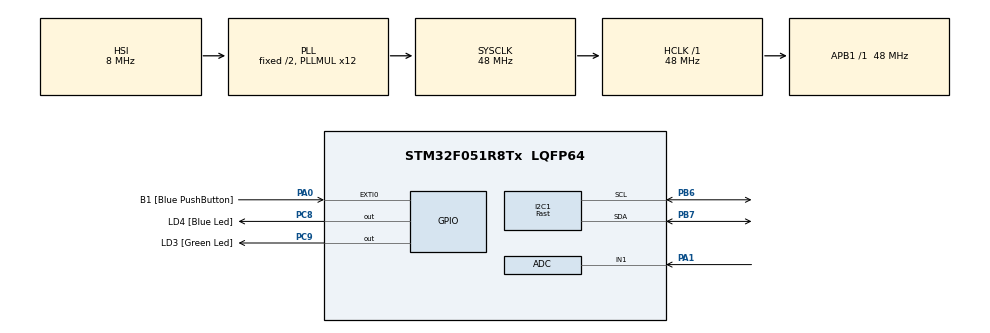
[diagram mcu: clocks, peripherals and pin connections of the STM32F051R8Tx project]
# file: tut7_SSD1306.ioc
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ADC.ClockPrescaler=ADC_CLOCK_ASYNC_DIV1
ADC.ContinuousConvMode=DISABLE
ADC.DMAContinuousRequests=DISABLE
ADC.DataAlign=ADC_DATAALIGN_RIGHT
ADC.DiscontinuousConvMode=DISABLE
ADC.EOCSelection=ADC_EOC_SINGLE_SEQ_CONV
ADC.EnableAnalogWatchDog=false
ADC.ExternalTrigConv=ADC_SOFTWARE_START
ADC.ExternalTrigConvEdge=ADC_EXTERNALTRIGCONVEDGE_NONE
ADC.LowPowerAutoPowerOff=DISABLE
ADC.LowPowerAutoWait=DISABLE
ADC.Overrun=ADC_OVR_DATA_PRESERVED
ADC.Resolution=ADC_RESOLUTION_12B
ADC.SamplingTime=ADC_SAMPLETIME_1CYCLE_5
ADC.ScanConvMode=ADC_SCAN_DIRECTION_FORWARD
I2C1.I2C_Speed_Mode=I2C_Fast
I2C1.Timing=0x0000020B
Mcu.Family=STM32F0
Mcu.Name=STM32F051R8Tx
Mcu.Package=LQFP64
PA0.GPIO_Label=B1 [Blue PushButton]
PA0.GPIO_ModeDefaultEXTI=GPIO_MODE_EVT_RISING
PA0.Signal=GPXTI0
PA1.Mode=IN1
PA1.Signal=ADC_IN1
PA13.GPIO_Label=SWDIO
PA13.Mode=Serial_Wire
PA13.Signal=SYS_SWDIO
PA14.GPIO_Label=SWCLK
PA14.Mode=Serial_Wire
PA14.Signal=SYS_SWCLK
PB6.Mode=I2C
PB6.Signal=I2C1_SCL
PB7.Mode=I2C
PB7.Signal=I2C1_SDA
PC8.GPIO_Label=LD4 [Blue Led]
PC8.Signal=GPIO_Output
PC9.GPIO_Label=LD3 [Green Led]
PC9.Signal=GPIO_Output
ProjectManager.HeapSize=0x200
ProjectManager.StackSize=0x400
ProjectManager.TargetToolchain=EWARM V8
RCC.AHBFreq_Value=48000000
RCC.APB1Freq_Value=48000000
RCC.APB1TimFreq_Value=48000000
RCC.HCLKFreq_Value=48000000
RCC.PLLMUL=RCC_PLL_MUL12
RCC.SYSCLKFreq_VALUE=48000000
RCC.SYSCLKSource=RCC_SYSCLKSOURCE_PLLCLK
board=STM32F0DISCOVERY

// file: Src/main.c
/**
  ******************************************************************************
  * File Name          : main.c
  * Description        : Main program body
  ******************************************************************************
  *
  * COPYRIGHT(c) 2019 STMicroelectronics
  *
  * Redistribution and use in source and binary forms, with or without modification,
  * are permitted provided that the following conditions are met:
  *   1. Redistributions of source code must retain the above copyright notice,
  *      this list of conditions and the following disclaimer.
  *   2. Redistributions in binary form must reproduce the above copyright notice,
  *      this list of conditions and the following disclaimer in the documentation
  *      and/or other materials provided with the distribution.
  *   3. Neither the name of STMicroelectronics nor the names of its contributors
  *      may be used to endorse or promote products derived from this software
  *      without specific prior written permission.
  *
  * THIS SOFTWARE IS PROVIDED BY THE COPYRIGHT HOLDERS AND CONTRIBUTORS "AS IS"
  * AND ANY EXPRESS OR IMPLIED WARRANTIES, INCLUDING, BUT NOT LIMITED TO, THE
  * IMPLIED WARRANTIES OF MERCHANTABILITY AND FITNESS FOR A PARTICULAR PURPOSE ARE
  * DISCLAIMED. IN NO EVENT SHALL THE COPYRIGHT HOLDER OR CONTRIBUTORS BE LIABLE
  * FOR ANY DIRECT, INDIRECT, INCIDENTAL, SPECIAL, EXEMPLARY, OR CONSEQUENTIAL
  * DAMAGES (INCLUDING, BUT NOT LIMITED TO, PROCUREMENT OF SUBSTITUTE GOODS OR
  * SERVICES; LOSS OF USE, DATA, OR PROFITS; OR BUSINESS INTERRUPTION) HOWEVER
  * CAUSED AND ON ANY THEORY OF LIABILITY, WHETHER IN CONTRACT, STRICT LIABILITY,
  * OR TORT (INCLUDING NEGLIGENCE OR OTHERWISE) ARISING IN ANY WAY OUT OF THE USE
  * OF THIS SOFTWARE, EVEN IF ADVISED OF THE POSSIBILITY OF SUCH DAMAGE.
  *
  ******************************************************************************
  */
#include "main.h"
#include "stm32f0xx_hal.h"

/* USER CODE BEGIN Includes */
#include "fonts.h"
#include "ssd1306.h"
#include "lis2ds12_reg.h"
#include <string.h>
/* USER CODE END Includes */

ADC_HandleTypeDef hadc;

I2C_HandleTypeDef hi2c1;

/* USER CODE BEGIN PV */
/* Private variables ---------------------------------------------------------*/
unsigned char buffer[5];

unsigned int rawT, rawH;
uint8_t rst_cnt;

float Temperature;
float Humidity;

//variables for LCD
char lcd_buf[25];
int i;

//static axis3bit16_t data_raw_acceleration;
//static axis1bit16_t data_raw_temperature;
static stepcountbit16_t data_step_count;
//static uint8_t magnitude_8bit;
//static float acceleration_mg[3];
//static float temperature_degC;
static uint8_t whoamI, rst;
//static uint8_t tx_buffer[1000];

/* USER CODE END PV */

void SystemClock_Config(void);
void Error_Handler(void);
static void MX_GPIO_Init(void);
static void MX_I2C1_Init(void);
static void MX_ADC_Init(void);
static int32_t platform_write(void *handle, uint8_t Reg, uint8_t *Bufp,
                              uint16_t len);
static int32_t platform_read(void *handle, uint8_t Reg, uint8_t *Bufp,
                              uint16_t len);
void lis2ds12_8bit_module(void);

/* USER CODE BEGIN PFP */
/* Private function prototypes -----------------------------------------------*/

/* USER CODE END PFP */

int main(void)
{

  /* MCU Configuration----------------------------------------------------------*/

  /* Reset of all peripherals, Initializes the Flash interface and the Systick. */
  HAL_Init();

  /* Configure the system clock */
  SystemClock_Config();

  /* Initialize all configured peripherals */
  MX_GPIO_Init();
  MX_I2C1_Init();
  MX_ADC_Init();

  /* USER CODE BEGIN 2 */
	//Init LCD
  ssd1306_Init();
  lis2ds12_8bit_module();                                                       /* This function has a while loop inside need some work around to make it work
                                                                                * along side the OLED
                                                                                */
  /* USER CODE END 2 */

  /* Infinite loop */
  while (1)
  {

  }

}

/** System Clock Configuration
*/
void SystemClock_Config(void)
{

  RCC_OscInitTypeDef RCC_OscInitStruct;
  RCC_ClkInitTypeDef RCC_ClkInitStruct;
  RCC_PeriphCLKInitTypeDef PeriphClkInit;

    /**Initializes the CPU, AHB and APB busses clocks
    */
  RCC_OscInitStruct.OscillatorType = RCC_OSCILLATORTYPE_HSI|RCC_OSCILLATORTYPE_HSI14;
  RCC_OscInitStruct.HSIState = RCC_HSI_ON;
  RCC_OscInitStruct.HSI14State = RCC_HSI14_ON;
  RCC_OscInitStruct.HSICalibrationValue = 16;
  RCC_OscInitStruct.HSI14CalibrationValue = 16;
  RCC_OscInitStruct.PLL.PLLState = RCC_PLL_ON;
  RCC_OscInitStruct.PLL.PLLSource = RCC_PLLSOURCE_HSI;
  RCC_OscInitStruct.PLL.PLLMUL = RCC_PLL_MUL12;
  RCC_OscInitStruct.PLL.PREDIV = RCC_PREDIV_DIV1;
  if (HAL_RCC_OscConfig(&RCC_OscInitStruct) != HAL_OK)
  {
    Error_Handler();
  }

    /**Initializes the CPU, AHB and APB busses clocks
    */
  RCC_ClkInitStruct.ClockType = RCC_CLOCKTYPE_HCLK|RCC_CLOCKTYPE_SYSCLK
                              |RCC_CLOCKTYPE_PCLK1;
  RCC_ClkInitStruct.SYSCLKSource = RCC_SYSCLKSOURCE_PLLCLK;
  RCC_ClkInitStruct.AHBCLKDivider = RCC_SYSCLK_DIV1;
  RCC_ClkInitStruct.APB1CLKDivider = RCC_HCLK_DIV1;

  if (HAL_RCC_ClockConfig(&RCC_ClkInitStruct, FLASH_LATENCY_1) != HAL_OK)
  {
    Error_Handler();
  }

  PeriphClkInit.PeriphClockSelection = RCC_PERIPHCLK_I2C1;
  PeriphClkInit.I2c1ClockSelection = RCC_I2C1CLKSOURCE_HSI;
  if (HAL_RCCEx_PeriphCLKConfig(&PeriphClkInit) != HAL_OK)
  {
    Error_Handler();
  }

    /**Configure the Systick interrupt time
    */
  HAL_SYSTICK_Config(HAL_RCC_GetHCLKFreq()/1000);

    /**Configure the Systick
    */
  HAL_SYSTICK_CLKSourceConfig(SYSTICK_CLKSOURCE_HCLK);

  /* SysTick_IRQn interrupt configuration */
  HAL_NVIC_SetPriority(SysTick_IRQn, 0, 0);
}

/* ADC init function */
static void MX_ADC_Init(void)
{

  ADC_ChannelConfTypeDef sConfig;

    /**Configure the global features of the ADC (Clock, Resolution, Data Alignment and number of conversion)
    */
  hadc.Instance = ADC1;
  hadc.Init.ClockPrescaler = ADC_CLOCK_ASYNC_DIV1;
  hadc.Init.Resolution = ADC_RESOLUTION_12B;
  hadc.Init.DataAlign = ADC_DATAALIGN_RIGHT;
  hadc.Init.ScanConvMode = ADC_SCAN_DIRECTION_FORWARD;
  hadc.Init.EOCSelection = ADC_EOC_SINGLE_SEQ_CONV;
  hadc.Init.LowPowerAutoWait = DISABLE;
  hadc.Init.LowPowerAutoPowerOff = DISABLE;
  hadc.Init.ContinuousConvMode = DISABLE;
  hadc.Init.DiscontinuousConvMode = DISABLE;
  hadc.Init.ExternalTrigConv = ADC_SOFTWARE_START;
  hadc.Init.ExternalTrigConvEdge = ADC_EXTERNALTRIGCONVEDGE_NONE;
  hadc.Init.DMAContinuousRequests = DISABLE;
  hadc.Init.Overrun = ADC_OVR_DATA_PRESERVED;
  if (HAL_ADC_Init(&hadc) != HAL_OK)
  {
    Error_Handler();
  }

    /**Configure for the selected ADC regular channel to be converted.
    */
  sConfig.Channel = ADC_CHANNEL_1;
  sConfig.Rank = ADC_RANK_CHANNEL_NUMBER;
  sConfig.SamplingTime = ADC_SAMPLETIME_1CYCLE_5;
  if (HAL_ADC_ConfigChannel(&hadc, &sConfig) != HAL_OK)
  {
    Error_Handler();
  }

}

/* I2C1 init function */
static void MX_I2C1_Init(void)
{

  hi2c1.Instance = I2C1;
  hi2c1.Init.Timing = 0x0000020B;
  hi2c1.Init.OwnAddress1 = 0;
  hi2c1.Init.AddressingMode = I2C_ADDRESSINGMODE_7BIT;
  hi2c1.Init.DualAddressMode = I2C_DUALADDRESS_DISABLE;
  hi2c1.Init.OwnAddress2 = 0;
  hi2c1.Init.OwnAddress2Masks = I2C_OA2_NOMASK;
  hi2c1.Init.GeneralCallMode = I2C_GENERALCALL_DISABLE;
  hi2c1.Init.NoStretchMode = I2C_NOSTRETCH_DISABLE;
  if (HAL_I2C_Init(&hi2c1) != HAL_OK)
  {
    Error_Handler();
  }

    /**Configure Analogue filter
    */
  if (HAL_I2CEx_ConfigAnalogFilter(&hi2c1, I2C_ANALOGFILTER_ENABLE) != HAL_OK)
  {
    Error_Handler();
  }

    /**Configure Digital filter
    */
  if (HAL_I2CEx_ConfigDigitalFilter(&hi2c1, 0) != HAL_OK)
  {
    Error_Handler();
  }

}

/** Configure pins as
        * Analog
        * Input
        * Output
        * EVENT_OUT
        * EXTI
        * Free pins are configured automatically as Analog (this feature is enabled through
        * the Code Generation settings)
*/
static void MX_GPIO_Init(void)
{

  GPIO_InitTypeDef GPIO_InitStruct;

  /* GPIO Ports Clock Enable */
  __HAL_RCC_GPIOC_CLK_ENABLE();
  __HAL_RCC_GPIOF_CLK_ENABLE();
  __HAL_RCC_GPIOA_CLK_ENABLE();
  __HAL_RCC_GPIOB_CLK_ENABLE();
  __HAL_RCC_GPIOD_CLK_ENABLE();

  /*Configure GPIO pin Output Level */
  HAL_GPIO_WritePin(GPIOC, LD4_Pin|LD3_Pin, GPIO_PIN_RESET);

  /*Configure GPIO pins : PC13 PC14 PC15 PC0
                           PC1 PC2 PC3 PC4
                           PC5 PC6 PC7 PC10
                           PC11 PC12 */
  GPIO_InitStruct.Pin = GPIO_PIN_13|GPIO_PIN_14|GPIO_PIN_15|GPIO_PIN_0
                          |GPIO_PIN_1|GPIO_PIN_2|GPIO_PIN_3|GPIO_PIN_4
                          |GPIO_PIN_5|GPIO_PIN_6|GPIO_PIN_7|GPIO_PIN_10
                          |GPIO_PIN_11|GPIO_PIN_12;
  GPIO_InitStruct.Mode = GPIO_MODE_ANALOG;
  GPIO_InitStruct.Pull = GPIO_NOPULL;
  HAL_GPIO_Init(GPIOC, &GPIO_InitStruct);

  /*Configure GPIO pins : PF0 PF1 PF4 PF5
                           PF6 PF7 */
  GPIO_InitStruct.Pin = GPIO_PIN_0|GPIO_PIN_1|GPIO_PIN_4|GPIO_PIN_5
                          |GPIO_PIN_6|GPIO_PIN_7;
  GPIO_InitStruct.Mode = GPIO_MODE_ANALOG;
  GPIO_InitStruct.Pull = GPIO_NOPULL;
  HAL_GPIO_Init(GPIOF, &GPIO_InitStruct);

  /*Configure GPIO pin : B1_Pin */
  GPIO_InitStruct.Pin = B1_Pin;
  GPIO_InitStruct.Mode = GPIO_MODE_IT_FALLING;
  GPIO_InitStruct.Pull = GPIO_NOPULL;
  HAL_GPIO_Init(B1_GPIO_Port, &GPIO_InitStruct);

  /*Configure GPIO pins : PA2 PA3 PA4 PA5
                           PA6 PA7 PA8 PA9
                           PA10 PA11 PA12 PA15 */
  GPIO_InitStruct.Pin = GPIO_PIN_2|GPIO_PIN_3|GPIO_PIN_4|GPIO_PIN_5
                          |GPIO_PIN_6|GPIO_PIN_7|GPIO_PIN_8|GPIO_PIN_9
                          |GPIO_PIN_10|GPIO_PIN_11|GPIO_PIN_12|GPIO_PIN_15;
  GPIO_InitStruct.Mode = GPIO_MODE_ANALOG;
  GPIO_InitStruct.Pull = GPIO_NOPULL;
  HAL_GPIO_Init(GPIOA, &GPIO_InitStruct);

  /*Configure GPIO pins : PB0 PB1 PB2 PB10
                           PB11 PB12 PB13 PB14
                           PB15 PB3 PB4 PB5
                           PB8 PB9 */
  GPIO_InitStruct.Pin = GPIO_PIN_0|GPIO_PIN_1|GPIO_PIN_2|GPIO_PIN_10
                          |GPIO_PIN_11|GPIO_PIN_12|GPIO_PIN_13|GPIO_PIN_14
                          |GPIO_PIN_15|GPIO_PIN_3|GPIO_PIN_4|GPIO_PIN_5
                          |GPIO_PIN_8|GPIO_PIN_9;
  GPIO_InitStruct.Mode = GPIO_MODE_ANALOG;
  GPIO_InitStruct.Pull = GPIO_NOPULL;
  HAL_GPIO_Init(GPIOB, &GPIO_InitStruct);

  /*Configure GPIO pins : LD4_Pin LD3_Pin */
  GPIO_InitStruct.Pin = LD4_Pin|LD3_Pin;
  GPIO_InitStruct.Mode = GPIO_MODE_OUTPUT_PP;
  GPIO_InitStruct.Pull = GPIO_NOPULL;
  GPIO_InitStruct.Speed = GPIO_SPEED_FREQ_LOW;
  HAL_GPIO_Init(GPIOC, &GPIO_InitStruct);

  /*Configure GPIO pin : PD2 */
  GPIO_InitStruct.Pin = GPIO_PIN_2;
  GPIO_InitStruct.Mode = GPIO_MODE_ANALOG;
  GPIO_InitStruct.Pull = GPIO_NOPULL;
  HAL_GPIO_Init(GPIOD, &GPIO_InitStruct);

  /* EXTI interrupt init*/
  HAL_NVIC_SetPriority(EXTI0_1_IRQn, 0, 0);
  HAL_NVIC_EnableIRQ(EXTI0_1_IRQn);

}

/* USER CODE BEGIN 4 */

void lis2ds12_8bit_module(void)
{
  uint8_t reset_reg = 0;
  uint8_t try_count = 0;

  HAL_Delay(1000);
  /*
   *  Initialize mems driver interface.
   */
  lis2ds12_ctx_t dev_ctx;

  dev_ctx.write_reg = platform_write;
  dev_ctx.read_reg = platform_read;
  dev_ctx.handle = &hi2c1;

  /* Check device ID. */
  whoamI = 0;
  lis2ds12_device_id_get(&dev_ctx, &whoamI);
  if ( whoamI != LIS2DS12_ID )
    while(1); /*manage here device not found */

  /* Restore default configuration. */
  lis2ds12_reset_set(&dev_ctx, PROPERTY_ENABLE);
  do {
    lis2ds12_reset_get(&dev_ctx, &rst);
  } while (rst);

  /* Enable Block Data Update. */
  lis2ds12_block_data_update_set(&dev_ctx, PROPERTY_ENABLE);

  /* Set full scale. */
  lis2ds12_xl_full_scale_set(&dev_ctx, LIS2DS12_4g);

  /* Enable pedometer algorithm. */
  lis2ds12_pedo_sens_set(&dev_ctx, PROPERTY_ENABLE);
//  lis2ds12_motion_sens_set(&dev_ctx, PROPERTY_ENABLE);
//  lis2ds12_tilt_sens_set(&dev_ctx, PROPERTY_ENABLE);

  /* Set Output Data Rate. */
  lis2ds12_odr_t val;
  lis2ds12_xl_data_rate_set(&dev_ctx, LIS2DS12_XL_ODR_1Hz_LP);
  lis2ds12_xl_data_rate_get(&dev_ctx, &val);

  while(1)
  {
    /*
     * Read output only if new value is available.
     */
    lis2ds12_reg_t reg;
    lis2ds12_status_reg_get(&dev_ctx, &reg.status);

    //lis2ds12_read_reg(&dev_ctx, LIS2DS12_FUNC_SRC, &reg.byte, 1);

    if (reg.status.drdy)
    //if (reg.func_src.module_ready)
    {

        reg.status.drdy = 0;
        /* Read Step count data. */

        memset(data_step_count.u8bit, 0x00, sizeof(int16_t));  //Clearing the variable.
        lis2ds12_number_of_steps_get(&dev_ctx,data_step_count.u8bit);   // reading the register H/L of 16 bit.

        sprintf(lcd_buf,"%d",data_step_count.i16bit); //convert stepcount to string
        ssd1306_SetCursor(0,0);	//set cursor position x=0, y=0
        ssd1306_WriteString(lcd_buf,Font_7x10,White);

        ssd1306_UpdateScreen();	//Update the LCD
        HAL_Delay(50);  // remove if not needed.

      /*
       * Read acceleration data.
       *
      lis2ds12_acceleration_module_raw_get(&dev_ctx, &magnitude_8bit);

      memset(data_raw_acceleration.u8bit, 0x00, 3*sizeof(int16_t));
      lis2ds12_acceleration_raw_get(&dev_ctx, data_raw_acceleration.u8bit);
      acceleration_mg[0] = LIS2DS12_FROM_FS_2g_TO_mg( data_raw_acceleration.i16bit[0]);
      acceleration_mg[1] = LIS2DS12_FROM_FS_2g_TO_mg( data_raw_acceleration.i16bit[1]);
      acceleration_mg[2] = LIS2DS12_FROM_FS_2g_TO_mg( data_raw_acceleration.i16bit[2]);
      */
    }
    if (rst_cnt) {
      rst_cnt = 0;
      do {
        lis2ds12_pedo_step_reset_set(&dev_ctx,1);
        lis2ds12_pedo_step_reset_get(&dev_ctx, &reset_reg);

      } while(reset_reg!=1 && try_count++<3);
    }
  }
}

/**
  * @brief  Write generic device register
  *
  * @param  lis2dw12_ctx_t *ctx: read / write interface definitions
  * @param  uint8_t reg: register to write
  * @param  uint8_t* data: pointer to data to write in register reg
  * @param  uint16_t len: number of consecutive register to write
  *
*/
static int32_t platform_write(void *handle, uint8_t Reg, uint8_t *Bufp,
                              uint16_t len)
{
  if (handle == &hi2c1)
  {
    HAL_I2C_Mem_Write(handle, LIS2DS12_I2C_ADD_H, Reg,
                      I2C_MEMADD_SIZE_8BIT, Bufp, len, 1000);
  }
  return 0;
}

/**
  * @brief  Write generic device register
  *
  * @param  lis2dw12_ctx_t *ctx: read / write interface definitions
  * @param  uint8_t reg: register to write
  * @param  uint8_t* data: pointer to data to write in register reg
  * @param  uint16_t len: number of consecutive register to write
  *
  *
  */
static int32_t platform_read(void *handle, uint8_t Reg, uint8_t *Bufp,
                             uint16_t len)
{
  if (handle == &hi2c1)
  {
      HAL_I2C_Mem_Read(handle, LIS2DS12_I2C_ADD_H, Reg,
                       I2C_MEMADD_SIZE_8BIT, Bufp, len, 1000);
  }
  return 0;
}

void HAL_GPIO_EXTI_Callback(uint16_t GPIO_Pin)
{
  if (GPIO_Pin == B1_Pin) {
    if(HAL_GPIO_ReadPin(GPIOA, B1_Pin) == 0) {
      rst_cnt = 1;
      HAL_GPIO_TogglePin(GPIOC, LD4_Pin);
    }
  }
  else
    __NOP();
}

/* USER CODE END 4 */

void Error_Handler(void)
{
  while(1)
  {
  }
}

/************************ (C) COPYRIGHT STMicroelectronics *****END OF FILE****/
